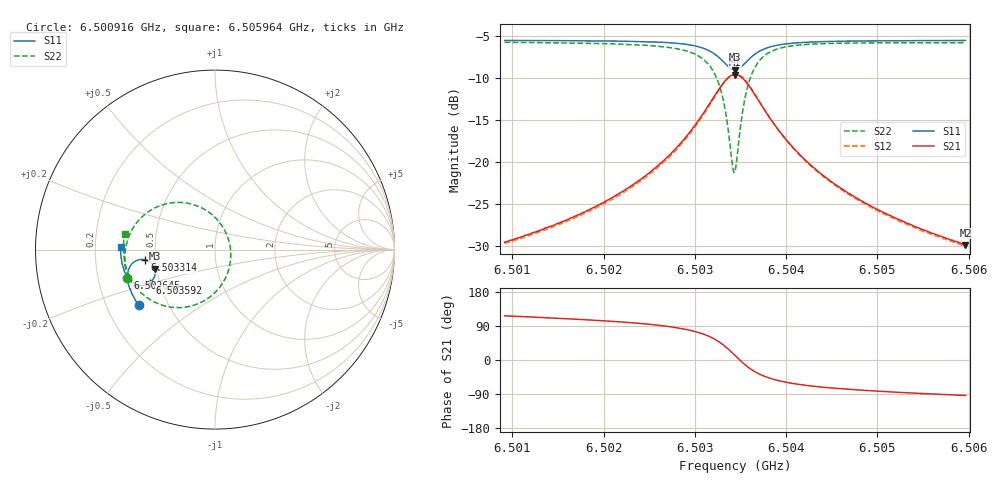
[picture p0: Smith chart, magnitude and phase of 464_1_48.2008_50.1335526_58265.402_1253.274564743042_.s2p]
#  HZ  S  RI  R  50.00
! Rohde & Schwarz Vector Network Analyzer
! Rohde-Schwarz,ZNB20-2Port,1311601062101988,3.16
! Created: UTC 3/20/2024, 11:56:51 AM
! freq[Hz]  re:S11  im:S11  re:S21  im:S21  re:S12  im:S12  re:S22  im:S22
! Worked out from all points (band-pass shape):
!   401 points, 6.500916 GHz to 6.505964 GHz, reference 50 ohm
!   highest |S21| = -9.62 dB at 6.50344 GHz (marker M1); lowest = -29.9 dB at 6.505964 GHz (marker M2)
!   |S21| within 3 dB of the highest: 6.503189 GHz to 6.503693 GHz (504.4 kHz wide, 0.00776 % of centre)
!   lowest |S11| = -9.0 dB at 6.50344 GHz (marker M3), VSWR 2.09, Z = 24.3 - j5.87 ohm
!   |S11| at or under -10 dB: nowhere
!   |S22| runs from -21.3 to -5.8 dB; largest |S21 - S12| = 0.012
!   S11 on the Smith chart (normalised r, x): 6.500916 GHz: 0.34, -0.29; 6.502645 GHz: 0.33, -0.14; 6.503314 GHz: 0.44, -0.06; 6.503592 GHz: 0.44, -0.20; 6.505964 GHz: 0.31, +0.01
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6.5009165e9  -0.4255 -0.3099  -0.015 0.0299  -0.0131 0.03  -0.4884 -0.1583
6.501762e9  -0.4619 -0.2478  -0.0144 0.0475  -0.0118 0.0472  -0.5023 -0.0688
6.5022289e9  -0.4783 -0.2065  -0.0114 0.067  -0.00818 0.0659  -0.4995 -0.00303
6.5026075e9  -0.4872 -0.1648  -0.00263 0.0963  0.00139 0.094  -0.4803 0.0721
6.5026454e9  -0.4876 -0.1599  -0.000711 0.1004  0.0032 0.098  -0.4766 0.0815
6.502923e9  -0.4839 -0.1169  0.0258 0.1429  0.0299 0.1384  -0.4217 0.1672
6.5031123e9  -0.4624 -0.0789  0.0798 0.185  0.0826 0.1787  -0.3183 0.24
6.5032259e9  -0.43 -0.0582  0.1487 0.2029  0.15 0.1962  -0.1942 0.2628
6.5033142e9  -0.3893 -0.0565  0.2284 0.1869  0.2291 0.1812  -0.0568 0.2229
6.5033521e9  -0.37 -0.0641  0.2648 0.1638  0.266 0.1587  0.00358 0.1762
6.5034152e9  -0.3432 -0.0909  0.3128 0.0998  0.3158 0.0942  0.0762 0.0528
6.5034404e9  -0.3367 -0.1056  0.3233 0.0674  0.3265 0.061  0.0872 -0.0075
6.5034657e9  -0.3337 -0.1213  0.3268 0.0336  0.3305 0.026  0.0854 -0.0691
6.5035288e9  -0.3409 -0.1589  0.3088 -0.0446  0.311 -0.0554  0.0301 -0.2051
6.5035919e9  -0.3622 -0.1849  0.2657 -0.099  0.2646 -0.1111  -0.067 -0.2885
6.5036928e9  -0.402 -0.2003  0.1908 -0.1355  0.1851 -0.1455  -0.2179 -0.3229
6.5038569e9  -0.4484 -0.1905  0.1087 -0.1323  0.1015 -0.1376  -0.3656 -0.2762
6.5040336e9  -0.4757 -0.169  0.0639 -0.1123  0.0575 -0.1146  -0.438 -0.2112
6.504286e9  -0.4964 -0.1391  0.034 -0.0878  0.029 -0.0884  -0.4815 -0.139
6.5046393e9  -0.5112 -0.1022  0.0158 -0.0657  0.0123 -0.0655  -0.5031 -0.0682
6.5051315e9  -0.5212 -0.0564  0.00508 -0.0479  0.00273 -0.0472  -0.5101 0.00168
6.5059644e9  -0.526 0.0141  -0.00205 -0.0321  -0.00348 -0.0314  -0.5022 0.0895
